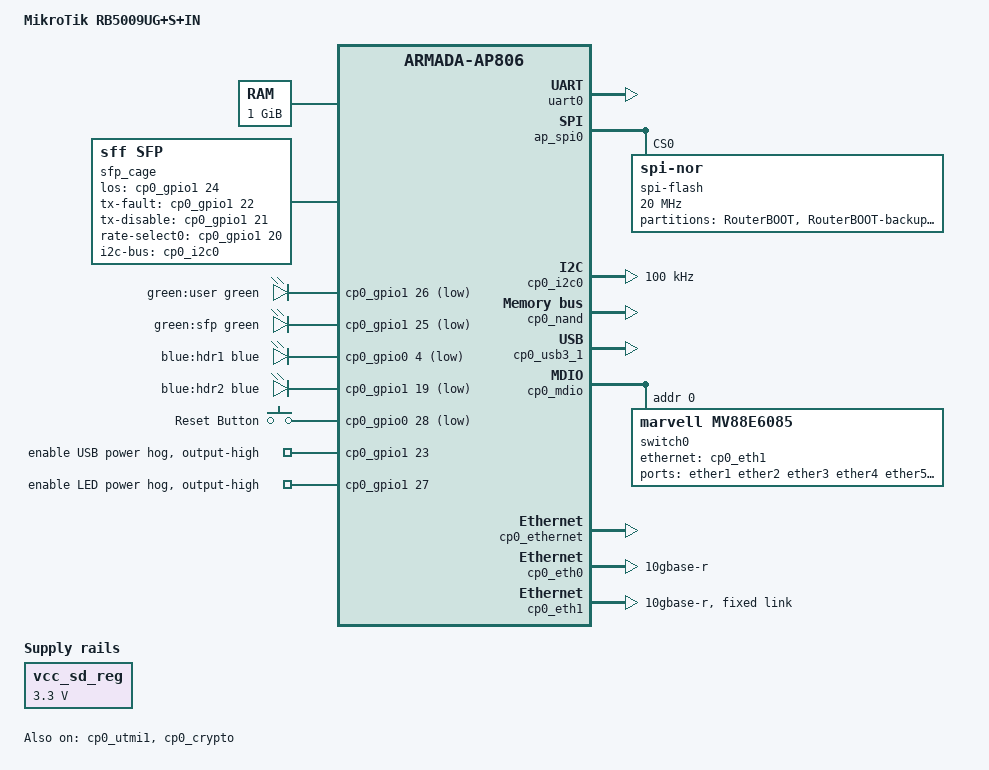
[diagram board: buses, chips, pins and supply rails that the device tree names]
// SPDX-License-Identifier: (GPL-2.0+ OR MIT)
/*
 * Device Tree file for MikroTik RB5009UG+S+IN
 * SoC: Marvell Armada 7040 (88F7040) Quad Cortex-A72 @ 1.4GHz
 * Switch: Marvell 88E6393X (Amethyst) DSA Switch (1x 2.5G, 7x 1G, 1x 10G SFP+)
 * Flash: 16MB SPI-NOR (RouterBOOT/Env) + 1GB NAND Flash (System/UBI)
 * RAM: 1GB DDR4
 */

/dts-v1/;

#include "armada-7040.dtsi"
#include <dt-bindings/gpio/gpio.h>
#include <dt-bindings/input/input.h>
#include <dt-bindings/leds/common.h>

/ {
	model = "MikroTik RB5009UG+S+IN";
	compatible = "mikrotik,rb5009", "marvell,armada7040",
		     "marvell,armada-ap806-quad", "marvell,armada-ap806";

	chosen {
		stdout-path = "serial0:115200n8";
		bootargs = "console=ttyS0,115200 earlycon=uart8250,mmio32,0xf0512000";
	};

	memory@0 {
		device_type = "memory";
		reg = <0x0 0x0 0x0 0x40000000>; /* 1GB RAM */
	};

	aliases {
		ethernet0 = &cp0_eth0;
		ethernet1 = &cp0_eth1;
		ethernet2 = &cp0_eth2;
		serial0 = &uart0;
	};

	vcc_sd_reg: vcc-sd-regulator {
		compatible = "regulator-fixed";
		regulator-name = "vcc_sd";
		regulator-min-microvolt = <3300000>;
		regulator-max-microvolt = <3300000>;
		regulator-always-on;
	};

	sfp_cage: sfp {
		compatible = "sff,sfp";
		i2c-bus = <&cp0_i2c0>;
		los-gpios = <&cp0_gpio1 24 GPIO_ACTIVE_HIGH>;
		tx-fault-gpios = <&cp0_gpio1 22 GPIO_ACTIVE_HIGH>;
		tx-disable-gpios = <&cp0_gpio1 21 GPIO_ACTIVE_HIGH>;
		rate-select0-gpios = <&cp0_gpio1 20 GPIO_ACTIVE_HIGH>;
	};

	leds {
		compatible = "gpio-leds";

		led-user {
			gpios = <&cp0_gpio1 26 GPIO_ACTIVE_LOW>;
			color = <LED_COLOR_ID_GREEN>;
			function = LED_FUNCTION_STATUS;
			label = "green:user";
			default-state = "on";
			linux,default-trigger = "heartbeat";
		};

		led-sfp {
			gpios = <&cp0_gpio1 25 GPIO_ACTIVE_LOW>;
			color = <LED_COLOR_ID_GREEN>;
			function = LED_FUNCTION_LAN;
			label = "green:sfp";
		};

		led-hdr1 {
			gpios = <&cp0_gpio0 4 GPIO_ACTIVE_LOW>;
			color = <LED_COLOR_ID_BLUE>;
			label = "blue:hdr1";
		};

		led-hdr2 {
			gpios = <&cp0_gpio1 19 GPIO_ACTIVE_LOW>;
			color = <LED_COLOR_ID_BLUE>;
			label = "blue:hdr2";
		};
	};

	keys {
		compatible = "gpio-keys";

		key-reset {
			label = "Reset Button";
			gpios = <&cp0_gpio0 28 GPIO_ACTIVE_LOW>;
			linux,code = <KEY_RESTART>;
			debounce-interval = <60>;
		};
	};
};

/* AP806 Pinctrl and Peripherals */
&ap_pinctl {
	/* MPP Bus: SPI [0-3], UART0 [11,19] */
	pin-func = < 3 3 3 3 0 0 0 0 0 0
		     0 3 0 0 0 0 0 0 0 3 >;

	ap_spi_pins: ap-spi-pins {
		marvell,pins = < 0 1 2 3 >;
		marvell,function = <3>;
	};
};

&uart0 {
	status = "okay";
};

&ap_spi0 {
	status = "okay";
	pinctrl-names = "default";
	pinctrl-0 = <&ap_spi_pins>;

	spi-flash@0 {
		#address-cells = <1>;
		#size-cells = <1>;
		compatible = "jedec,spi-nor";
		reg = <0>;
		spi-max-frequency = <20000000>;

		partitions {
			compatible = "fixed-partitions";
			#address-cells = <1>;
			#size-cells = <1>;

			partition@0 {
				label = "RouterBOOT";
				reg = <0x0 0x80000>;
				read-only;
			};

			partition@80000 {
				label = "RouterBOOT-backup";
				reg = <0x80000 0x80000>;
				read-only;
			};

			partition@fe0000 {
				label = "u-boot-env";
				reg = <0xfe0000 0x20000>;
			};
		};
	};
};

/* CP110 Southbridge Pinctrl & ComPHY SerDes */
&cp0_pinctl {
	pin-func = < 0   0   0   0   0   0   0   0   0   0
		     0   0   0   2   0   1   1   1   1   1
		     1   1   1   1   1   1   1   1   0   0xA
		     0xA 0   0   0   0   8   8   2   2   0
		     0   0   0   0   0   0   0   5   5   5
		     5   0   0   0   0   0   0   0   0   0
		     0   0   0 >;

	cp0_nand_pins: cp0-nand-pins {
		marvell,pins = < 15 16 17 18 19 20 21 22 23 24 25 26 27 >;
		marvell,function = <1>;
	};

	cp0_smi_pins: cp0-smi-pins {
		marvell,pins = < 35 36 >;
		marvell,function = <8>;
	};

	cp0_i2c0_pins: cp0-i2c0-pins {
		marvell,pins = < 37 38 >;
		marvell,function = <2>;
	};

	cp0_spi1_pins: cp0-spi-pins-1 {
		marvell,pins = < 47 48 49 50 >;
		marvell,function = <5>;
	};
};

&cp0_gpio1 {
	enable-usb-power {
		gpio-hog;
		gpios = <23 GPIO_ACTIVE_HIGH>;
		output-high;
		line-name = "enable USB power";
	};

	enable-leds-power {
		gpio-hog;
		gpios = <27 GPIO_ACTIVE_HIGH>;
		output-high;
		line-name = "enable LED power";
	};
};

&cp0_comphy {
	phy0 {
		phy-type = <COMPHY_TYPE_UNCONNECTED>;
	};

	phy1 {
		phy-type = <COMPHY_TYPE_UNCONNECTED>;
	};

	/* SerDes lane 2 connected to SFP+ cage (10G SFI) */
	phy2 {
		phy-type = <COMPHY_TYPE_SFI0>;
		phy-speed = <COMPHY_SPEED_10_3125G>;
	};

	/* SerDes lane 3 connected to USB 3.0 Host */
	phy3 {
		phy-type = <COMPHY_TYPE_USB3_HOST1>;
		phy-speed = <COMPHY_SPEED_5G>;
	};

	phy4 {
		phy-type = <COMPHY_TYPE_UNCONNECTED>;
	};

	phy5 {
		phy-type = <COMPHY_TYPE_UNCONNECTED>;
	};
};

&cp0_i2c0 {
	status = "okay";
	pinctrl-names = "default";
	pinctrl-0 = <&cp0_i2c0_pins>;
	clock-frequency = <100000>;
};

&cp0_nand {
	status = "okay";
	pinctrl-names = "default";
	pinctrl-0 = <&cp0_nand_pins>;
	nand-ecc-strength = <4>;
	nand-ecc-step-size = <512>;

	partitions {
		compatible = "fixed-partitions";
		#address-cells = <1>;
		#size-cells = <1>;

		partition@0 {
			label = "RouterBOOT-kernel";
			reg = <0x0 0x800000>; /* 8MB */
		};

		partition@800000 {
			label = "ubi";
			reg = <0x800000 0x3f800000>; /* 1016MB UBI Partition */
		};
	};
};

&cp0_usb3_1 {
	status = "okay";
};

&cp0_utmi1 {
	status = "okay";
};

&cp0_mdio {
	status = "okay";
	pinctrl-names = "default";
	pinctrl-0 = <&cp0_smi_pins>;

	/* Marvell 88E6393X (Amethyst) DSA Switch */
	switch0: switch0@0 {
		compatible = "marvell,mv88e6085";
		reg = <0>;

		dsa,member = <0 0>;
		#address-cells = <1>;
		#size-cells = <0>;

		ports {
			#address-cells = <1>;
			#size-cells = <0>;

			port@0 {
				reg = <0>;
				label = "ether1";
			};

			port@1 {
				reg = <1>;
				label = "ether2";
			};

			port@2 {
				reg = <2>;
				label = "ether3";
			};

			port@3 {
				reg = <3>;
				label = "ether4";
			};

			port@4 {
				reg = <4>;
				label = "ether5";
			};

			port@5 {
				reg = <5>;
				label = "ether6";
			};

			port@6 {
				reg = <6>;
				label = "ether7";
			};

			port@7 {
				reg = <7>;
				label = "ether8";
			};

			port@9 {
				reg = <9>;
				label = "cpu";
				ethernet = <&cp0_eth1>;
				phy-mode = "10gbase-r";

				fixed-link {
					speed = <10000>;
					full-duplex;
				};
			};
		};
	};
};

&cp0_ethernet {
	status = "okay";
};

/* 10G SFP+ Port */
&cp0_eth0 {
	status = "okay";
	phy-mode = "10gbase-r";
	sfp = <&sfp_cage>;
};

/* CPU interconnect link to 88E6393X Switch */
&cp0_eth1 {
	status = "okay";
	phy-mode = "10gbase-r";

	fixed-link {
		speed = <10000>;
		full-duplex;
	};
};

/* Cryptographic Hardware Acceleration (Inside Secure SafeXcel Engine) */
&cp0_crypto {
	status = "okay";
};
